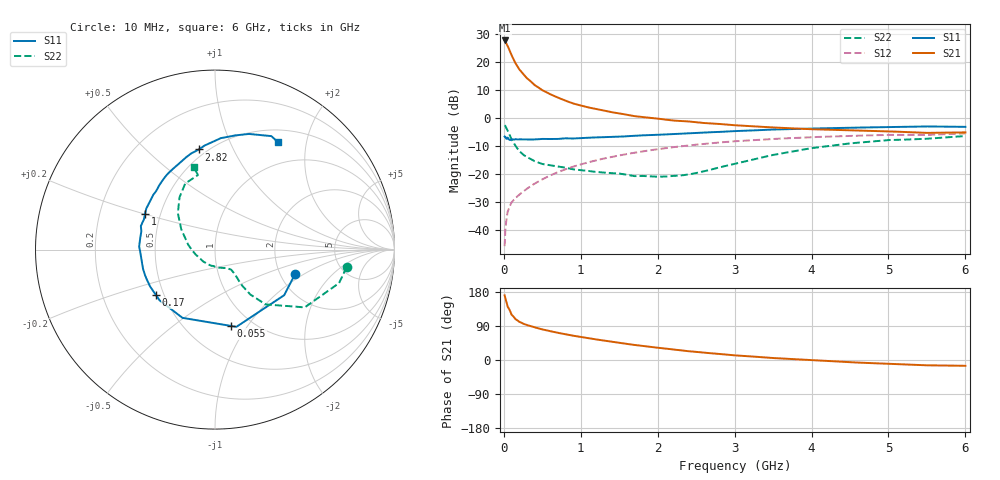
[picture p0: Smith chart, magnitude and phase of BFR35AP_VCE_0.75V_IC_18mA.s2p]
! Infineon Technologies  Discrete & RF Semiconductors
! BFR35AP
! VCE = 0.75 V,  IC =  18 mA
! Common Emitter S-Parameters:  Nov 2015
# GHz  S  MA  R  50
!  f  S11  S21  S12  S22
! GHz  MAG  ANG  MAG  ANG  MAG  ANG  MAG  ANG
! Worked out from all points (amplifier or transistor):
!   210 points, 10 MHz to 6 GHz, reference 50 ohm
!   highest |S21| = 27.6 dB at 10 MHz (marker M1)
!   |S21| within 3 dB of that: start of sweep to 65.84 MHz
!   unconditionally stable (mu >= 1): start of sweep to 16.36 MHz; 129.6 MHz to end of sweep
!   at 185 MHz: K = 1.22, MAG = 20.1 dB, |S12| = -27.7 dB
!   at 1.52 GHz: K = 1.60, MAG = 2.9 dB, |S12| = -13.3 dB
!   at 6 GHz: K = 1.16, MAG = -2.2 dB, |S12| = -5.5 dB
!   S11 on the Smith chart (normalised r, x): 10 MHz: 2.40, -0.84; 55 MHz: 0.80, -0.84; 170 MHz: 0.45, -0.28; 1 GHz: 0.41, +0.20; 2.82 GHz: 0.45, +0.74; 6 GHz: 0.67, +1.54
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0.01  0.4665 -17.1  24.01 170.7  0.0052 79.1  0.7399 -7.6
0.02  0.4615 -33.4  23.23 161.9  0.0102 73.3  0.716 -15.1
0.05  0.4465 -74.5  19.12 140.5  0.0214 62.4  0.5946 -32.8
0.055  0.4345 -78.1  18.44 139.1  0.0223 61.2  0.5755 -33.8
0.1  0.4213 -115.5  13.07 119.6  0.0312 53.6  0.4155 -47.3
0.15  0.4186 -137.5  9.496 108.0  0.0373 54.2  0.3185 -51.8
0.17  0.4151 -142.6  8.627 105.5  0.0395 54.8  0.2939 -52.2
0.2  0.4159 -150.2  7.361 100.8  0.0428 55.5  0.2571 -52.9
0.26  0.4151 -160.1  5.861 95.2  0.0499 57.8  0.2174 -52.6
0.3  0.415 -165.3  5.109 92.0  0.0548 59.6  0.2011 -51.9
0.4  0.4144 -175.8  3.855 86.0  0.0675 62.0  0.1697 -51.1
0.5  0.4229 177.6  3.122 80.7  0.0805 63.4  0.1514 -51.0
0.6  0.4218 171.4  2.66 76.1  0.094 64.0  0.1434 -51.2
0.8  0.4336 162.3  2.028 68.0  0.1216 63.6  0.13 -54.7
1  0.4386 152.8  1.663 60.8  0.1488 62.2  0.1176 -60.5
1.02  0.4399 152.0  1.638 60.2  0.1515 62.0  0.1168 -61.3
2.02  0.5032 119.4  0.965 32.0  0.2799 48.9  0.09 -119.6
2.82  0.5651 99.2  0.778 15.6  0.3671 36.4  0.1333 178.3
3.1  0.5895 93.9  0.728 11.0  0.3916 31.7  0.1636 164.0
4.1  0.6518 78.4  0.624 -1.6  0.4596 17.0  0.301 132.9
5.1  0.6904 67.4  0.57 -10.8  0.4985 3.5  0.4067 111.9
6  0.6938 59.6  0.553 -15.3  0.5311 -5.5  0.476 104.5
